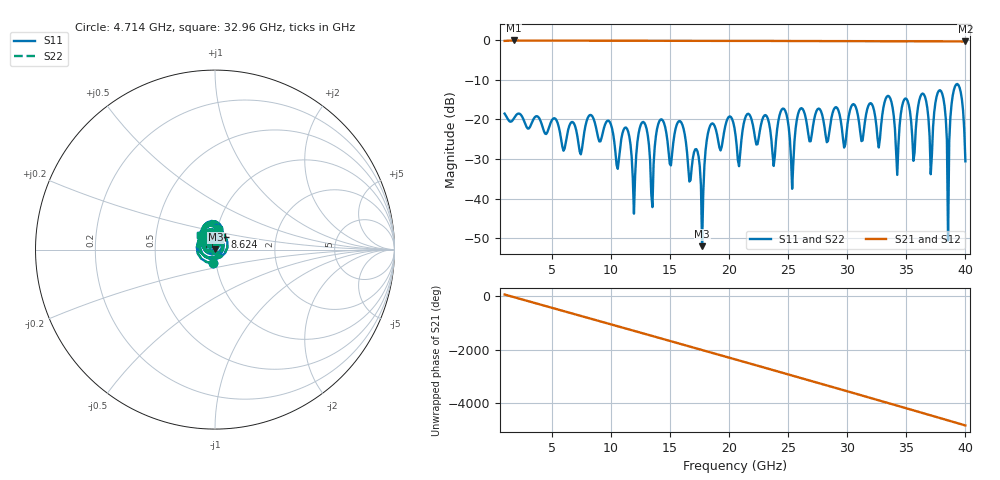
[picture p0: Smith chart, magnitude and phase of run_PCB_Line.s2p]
#  Hz  S  RI  R  50
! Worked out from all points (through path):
!   400 points, 1 GHz to 40 GHz, reference 50 ohm
!   highest |S21| = -0.07 dB at 1.782 GHz (marker M1); lowest = -0.3 dB at 40 GHz (marker M2)
!   lowest |S11| = -52.0 dB at 17.71 GHz (marker M3), VSWR 1.01, Z = 50.2 + j0.0731 ohm
!   |S11| at or under -10 dB: start of sweep to end of sweep
!   |S22| runs from -52.0 to -11.1 dB; largest |S21 - S12| = 0
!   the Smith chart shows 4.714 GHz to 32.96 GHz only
!   S11 on the Smith chart (normalised r, x): 4.714 GHz: 0.97, -0.14; 8.624 GHz: 1.11, +0.16; 32.96 GHz: 0.84, +0.13
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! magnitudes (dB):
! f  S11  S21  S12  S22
! 1 GHz  -18.6  -0.2  -0.2  -18.6
! 1.782 GHz  -19.8  -0.1  -0.1  -19.8
! 4.714 GHz  -22.5  -0.1  -0.1  -22.5
! 7.549 GHz  -27.4  -0.1  -0.1  -27.4
! 8.624 GHz  -20.7  -0.1  -0.1  -20.7
! 11.36 GHz  -22.4  -0.1  -0.1  -22.4
! 11.95 GHz  -43.8  -0.1  -0.1  -43.8
! 14 GHz  -21.2  -0.1  -0.1  -21.2
! 17.32 GHz  -28.1  -0.1  -0.1  -28.1
! 17.71 GHz  -52.0  -0.1  -0.1  -52.0
! 18.3 GHz  -22.4  -0.2  -0.2  -22.4
! 20.55 GHz  -24.1  -0.2  -0.2  -24.1
! 27 GHz  -23.8  -0.2  -0.2  -23.8
! 32.96 GHz  -18.9  -0.3  -0.3  -18.9
! 33.55 GHz  -14.2  -0.3  -0.3  -14.2
! 37.07 GHz  -33.9  -0.3  -0.3  -33.9
! 38.05 GHz  -13.6  -0.3  -0.3  -13.6
! 38.44 GHz  -25.3  -0.3  -0.3  -25.3
! 38.53 GHz  -50.6  -0.3  -0.3  -50.6
! 38.63 GHz  -25.6  -0.3  -0.3  -25.6
! 39.02 GHz  -12.6  -0.3  -0.3  -12.6
! 40 GHz  -30.6  -0.3  -0.3  -30.6
